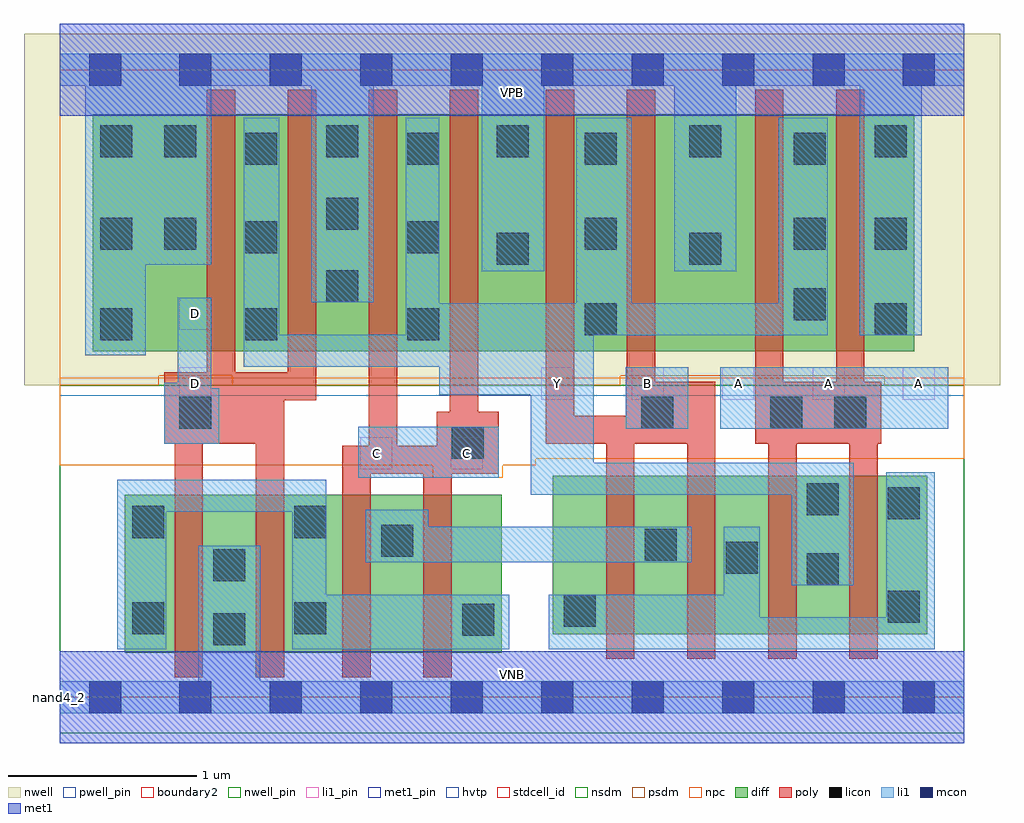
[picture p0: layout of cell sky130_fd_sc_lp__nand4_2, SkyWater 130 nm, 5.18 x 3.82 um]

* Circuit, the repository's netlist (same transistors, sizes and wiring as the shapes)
* Copyright 2020 The SkyWater PDK Authors
*
* Licensed under the Apache License, Version 2.0 (the "License");
* you may not use this file except in compliance with the License.
* You may obtain a copy of the License at
*
*     https://www.apache.org/licenses/LICENSE-2.0
*
* Unless required by applicable law or agreed to in writing, software
* distributed under the License is distributed on an "AS IS" BASIS,
* WITHOUT WARRANTIES OR CONDITIONS OF ANY KIND, either express or implied.
* See the License for the specific language governing permissions and
* limitations under the License.
*
* SPDX-License-Identifier: Apache-2.0

.SUBCKT sky130_fd_sc_lp__nand4_2 A B C D VGND VNB VPB VPWR Y
*.PININFO A:I B:I C:I D:I VGND:I VNB:I VPB:I VPWR:I Y:O
MMP0 Y A VPWR VPB sky130_fd_pr__pfet_01v8_hvt m=2 w=1.26U l=0.15U mult=1 sa=0.265
+ sb=0.265 sd=0.28 area=0.063 perim=1.14
MMP1 Y B VPWR VPB sky130_fd_pr__pfet_01v8_hvt m=2 w=1.26U l=0.15U mult=1 sa=0.265
+ sb=0.265 sd=0.28 area=0.063 perim=1.14
MMP3 Y D VPWR VPB sky130_fd_pr__pfet_01v8_hvt m=2 w=1.26U l=0.15U mult=1 sa=0.265
+ sb=0.265 sd=0.28 area=0.063 perim=1.14
MMP2 Y C VPWR VPB sky130_fd_pr__pfet_01v8_hvt m=2 w=1.26U l=0.15U mult=1 sa=0.265
+ sb=0.265 sd=0.28 area=0.063 perim=1.14
MMN0 Y A sndA VNB sky130_fd_pr__nfet_01v8 m=2 w=0.84U l=0.15U mult=1 sa=0.265 sb=0.265
+ sd=0.28 area=0.063 perim=1.14
MMN1 sndA B sndB VNB sky130_fd_pr__nfet_01v8 m=2 w=0.84U l=0.15U mult=1 sa=0.265
+ sb=0.265 sd=0.28 area=0.063 perim=1.14
MMN2 sndB C sndC VNB sky130_fd_pr__nfet_01v8 m=2 w=0.84U l=0.15U mult=1 sa=0.265
+ sb=0.265 sd=0.28 area=0.063 perim=1.14
MMN3 sndC D VGND VNB sky130_fd_pr__nfet_01v8 m=2 w=0.84U l=0.15U mult=1 sa=0.265
+ sb=0.265 sd=0.28 area=0.063 perim=1.14
.ENDS sky130_fd_sc_lp__nand4_2

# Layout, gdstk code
import gdstk
lib = gdstk.Library(unit=1e-6, precision=1e-09)
def R(c, l, rs):  # rectangles x0, y0, x1, y1
    for r in rs: c.add(gdstk.rectangle(r[:2], r[2:], *l))
def A(c, l, x, y, w, h, nx, ny, dx, dy):  # array of equal rectangles
    R(c, l, [(x+i*dx, y+j*dy, x+i*dx+w, y+j*dy+h) for i in range(nx) for j in range(ny)])
def P(c, l, *ps):  # polygons
    for p in ps: c.add(gdstk.Polygon(p, *l))
nwell_pin = (64, 16)
nwell = (64, 20)
diff = (65, 20)
poly = (66, 20)
licon = (66, 44)
li1_pin = (67, 16)
li1 = (67, 20)
mcon = (67, 44)
met1_pin = (68, 16)
met1 = (68, 20)
hvtp = (78, 44)
stdcell_id = (81, 4)
nsdm = (93, 44)
psdm = (94, 20)
npc = (95, 20)
pwell_pin = (122, 16)
boundary2 = (236, 0)

sky130_fd_sc_lp__nand4_2 = lib.new_cell('sky130_fd_sc_lp__nand4_2')
R(sky130_fd_sc_lp__nand4_2, nwell_pin, [(0,3.085,4.8,3.33)])
R(sky130_fd_sc_lp__nand4_2, nwell, [(-0.19,1.655,4.99,3.52)])
R(sky130_fd_sc_lp__nand4_2, diff, [(0.345,0.235,2.345,1.075), (2.615,0.335,4.605,1.175), (0.175,1.835,4.535,3.095)])
P(sky130_fd_sc_lp__nand4_2, poly, [(1.36,3.225),(1.21,3.225),(1.21,1.725),(0.93,1.725),(0.93,3.225),(0.78,3.225),(0.78,1.725),(0.555,1.725),(0.555,1.345),(0.61,1.345),(0.61,0.105),(0.76,0.105),(0.76,1.345),(1.04,1.345),(1.04,0.105),(1.19,0.105),(1.19,1.575),(1.36,1.575)],
  [(2.33,1.515),(2.22,1.515),(2.22,3.225),(2.07,3.225),(2.07,1.515),(2,1.515),(2,1.335),(1.79,1.335),(1.79,3.225),(1.64,3.225),(1.64,1.335),(1.5,1.335),(1.5,0.105),(1.65,0.105),(1.65,1.185),(1.93,1.185),(1.93,0.105),(2.08,0.105),(2.08,1.185),(2.33,1.185)],
  [(3.48,1.675),(3.16,1.675),(3.16,3.225),(3.01,3.225),(3.01,1.675),(3.005,1.675),(3.005,1.495),(2.73,1.495),(2.73,3.225),(2.58,3.225),(2.58,1.345),(2.9,1.345),(2.9,0.205),(3.05,0.205),(3.05,1.345),(3.33,1.345),(3.33,0.205),(3.48,0.205)],
  [(4.36,1.675),(4.27,1.675),(4.27,3.225),(4.12,3.225),(4.12,1.675),(3.84,1.675),(3.84,3.225),(3.69,3.225),(3.69,1.345),(3.76,1.345),(3.76,0.205),(3.91,0.205),(3.91,1.345),(4.19,1.345),(4.19,0.205),(4.34,0.205),(4.34,1.345),(4.36,1.345)])
A(sky130_fd_sc_lp__nand4_2, licon, 1.415, 2.095, 0.17, 0.17, 1, 3, 0, 0.385)
R(sky130_fd_sc_lp__nand4_2, licon, [(0.815,0.275,0.985,0.445), (2.135,0.325,2.305,0.495), (0.385,0.335,0.555,0.505), (1.245,0.335,1.415,0.505), (2.675,0.375,2.845,0.545), (4.395,0.395,4.565,0.565), (3.965,0.595,4.135,0.765), (0.815,0.615,0.985,0.785), (3.535,0.655,3.705,0.825), (3.105,0.725,3.275,0.895), (1.705,0.745,1.875,0.915), (0.385,0.845,0.555,1.015), (1.245,0.845,1.415,1.015), (4.395,0.945,4.565,1.115), (3.965,0.965,4.135,1.135), (2.08,1.265,2.25,1.435), (0.635,1.425,0.805,1.595), (3.085,1.425,3.255,1.595), (3.77,1.425,3.94,1.595), (4.11,1.425,4.28,1.595), (0.215,1.895,0.385,2.065), (0.985,1.895,1.155,2.065), (1.845,1.895,2.015,2.065), (2.785,1.92,2.955,2.09), (4.325,1.92,4.495,2.09), (3.895,2,4.065,2.17), (2.32,2.295,2.49,2.465), (3.34,2.295,3.51,2.465), (0.985,2.355,1.155,2.525), (1.845,2.355,2.015,2.525), (0.215,2.375,0.385,2.545), (0.555,2.375,0.725,2.545), (2.785,2.375,2.955,2.545), (3.895,2.375,4.065,2.545), (4.325,2.375,4.495,2.545), (0.985,2.825,1.155,2.995), (1.845,2.825,2.015,2.995), (2.785,2.825,2.955,2.995), (3.895,2.825,4.065,2.995), (0.215,2.865,0.385,3.035), (0.555,2.865,0.725,3.035), (2.32,2.865,2.49,3.035), (3.34,2.865,3.51,3.035), (4.325,2.865,4.495,3.035)])
A(sky130_fd_sc_lp__nand4_2, li1_pin, 2.555, 1.58, 0.17, 0.17, 5, 1, 0.48, 0)
R(sky130_fd_sc_lp__nand4_2, li1_pin, [(1.595,1.21,1.765,1.38), (2.075,1.21,2.245,1.38), (0.635,1.58,0.805,1.75), (0.635,1.95,0.805,2.12)])
R(sky130_fd_sc_lp__nand4_2, li1, [(1.585,1.165,2.33,1.435), (3.005,1.425,3.335,1.75), (3.505,1.425,4.715,1.75)])
P(sky130_fd_sc_lp__nand4_2, li1, [(4.8,3.415),(0,3.415),(0,3.245),(0.135,3.245),(0.135,1.815),(0.455,1.815),(0.455,2.295),(0.805,2.295),(0.805,3.245),(1.335,3.245),(1.335,2.095),(1.665,2.095),(1.665,3.245),(2.24,3.245),(2.24,2.26),(2.57,2.26),(2.57,3.245),(3.26,3.245),(3.26,2.26),(3.59,2.26),(3.59,3.245),(4.245,3.245),(4.245,1.92),(4.575,1.92),(4.575,3.245),(4.8,3.245)],
  [(0.735,0.085),(0.735,0.805),(1.065,0.805),(1.065,0.085),(4.8,0.085),(4.8,-0.085),(0,-0.085),(0,0.085)],
  [(2.835,1.245),(4.215,1.245),(4.215,0.595),(3.885,0.595),(3.885,1.075),(2.5,1.075),(2.5,1.605),(2.015,1.605),(2.015,1.755),(0.975,1.755),(0.975,3.075),(1.165,3.075),(1.165,1.925),(1.835,1.925),(1.835,3.075),(2.015,3.075),(2.015,2.09),(2.74,2.09),(2.74,3.075),(3.035,3.075),(3.035,2.09),(3.815,2.09),(3.815,3.075),(4.075,3.075),(4.075,1.92),(2.835,1.92)],
  [(0.845,1.64),(0.805,1.64),(0.805,2.12),(0.625,2.12),(0.625,1.67),(0.555,1.67),(0.555,1.345),(0.845,1.345)],
  [(3.715,0.425),(4.385,0.425),(4.385,1.195),(4.645,1.195),(4.645,0.255),(2.595,0.255),(2.595,0.545),(3.525,0.545),(3.525,0.905),(3.715,0.905)],
  [(1.955,0.905),(3.355,0.905),(3.355,0.715),(1.625,0.715),(1.625,0.995),(1.955,0.995)],
  [(1.415,0.545),(2.385,0.545),(2.385,0.255),(1.235,0.255),(1.235,0.985),(0.565,0.985),(0.565,0.255),(0.305,0.255),(0.305,1.155),(1.415,1.155)])
A(sky130_fd_sc_lp__nand4_2, mcon, 0.155, -0.085, 0.17, 0.17, 10, 2, 0.48, 3.33)
R(sky130_fd_sc_lp__nand4_2, met1_pin, [(0,0,4.8,0.245), (0,3.085,4.8,3.33)])
R(sky130_fd_sc_lp__nand4_2, met1, [(0,-0.245,4.8,0.245), (0,3.085,4.8,3.575)])
R(sky130_fd_sc_lp__nand4_2, hvtp, [(0,1.6,4.8,3.33)])
R(sky130_fd_sc_lp__nand4_2, stdcell_id, [(0,0,4.8,3.33)])
R(sky130_fd_sc_lp__nand4_2, nsdm, [(0,-0.19,4.8,1.655)])
P(sky130_fd_sc_lp__nand4_2, psdm, [(4.8,3.52),(0,3.52),(0,1.655),(0.525,1.655),(0.525,1.705),(0.915,1.705),(0.915,1.655),(2.975,1.655),(2.975,1.705),(4.375,1.705),(4.375,1.655),(4.8,1.655)])
P(sky130_fd_sc_lp__nand4_2, npc, [(4.8,1.695),(0,1.695),(0,1.23),(1.98,1.23),(1.98,1.165),(2.35,1.165),(2.35,1.23),(2.525,1.23),(2.525,1.265),(4.8,1.265)])
R(sky130_fd_sc_lp__nand4_2, pwell_pin, [(0,0,4.8,0.245)])
R(sky130_fd_sc_lp__nand4_2, boundary2, [(0,0,4.8,3.33)])
sky130_fd_sc_lp__nand4_2.add(gdstk.Label('VNB', (2.4,0.123), layer=64, texttype=59))
sky130_fd_sc_lp__nand4_2.add(gdstk.Label('VPB', (2.4,3.208), layer=64, texttype=5))
sky130_fd_sc_lp__nand4_2.add(gdstk.Label('nand4_2', (0,0), layer=83, texttype=44))
sky130_fd_sc_lp__nand4_2.add(gdstk.Label('VPWR', (2.4,3.208), layer=68, texttype=5))
sky130_fd_sc_lp__nand4_2.add(gdstk.Label('VGND', (2.4,0.123), layer=68, texttype=5))
sky130_fd_sc_lp__nand4_2.add(gdstk.Label('Y', (2.64,1.665), layer=67, texttype=5))
sky130_fd_sc_lp__nand4_2.add(gdstk.Label('A', (3.6,1.665), layer=67, texttype=5))
sky130_fd_sc_lp__nand4_2.add(gdstk.Label('A', (4.08,1.665), layer=67, texttype=5))
sky130_fd_sc_lp__nand4_2.add(gdstk.Label('A', (4.56,1.665), layer=67, texttype=5))
sky130_fd_sc_lp__nand4_2.add(gdstk.Label('B', (3.12,1.665), layer=67, texttype=5))
sky130_fd_sc_lp__nand4_2.add(gdstk.Label('C', (1.68,1.295), layer=67, texttype=5))
sky130_fd_sc_lp__nand4_2.add(gdstk.Label('C', (2.16,1.295), layer=67, texttype=5))
sky130_fd_sc_lp__nand4_2.add(gdstk.Label('D', (0.72,1.665), layer=67, texttype=5))
sky130_fd_sc_lp__nand4_2.add(gdstk.Label('D', (0.72,2.035), layer=67, texttype=5))

lib.write_gds('sky130_fd_sc_lp__nand4_2.gds')
